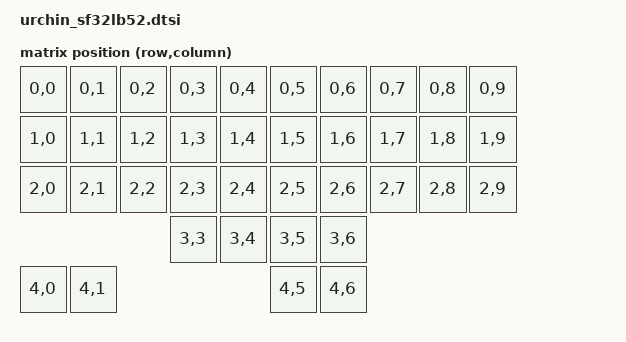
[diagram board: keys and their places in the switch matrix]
#include <zephyr/dt-bindings/gpio/gpio.h>
#include <dt-bindings/zmk/matrix_transform.h>

#include "urchin_sf32lb52-layouts.dtsi"

&default_layout {
    transform = <&default_transform>;
};

/ {
    chosen {
        zmk,kscan = &kscan_composite;
        zmk,physical-layout = &default_layout;
    };

    default_transform: keymap_transform_0 {
        compatible = "zmk,matrix-transform";
        columns = <10>;
        rows = <5>;

        map = <
            RC(0,0) RC(0,1) RC(0,2) RC(0,3) RC(0,4)     RC(0,5) RC(0,6) RC(0,7) RC(0,8) RC(0,9)
            RC(1,0) RC(1,1) RC(1,2) RC(1,3) RC(1,4)     RC(1,5) RC(1,6) RC(1,7) RC(1,8) RC(1,9)
            RC(2,0) RC(2,1) RC(2,2) RC(2,3) RC(2,4)     RC(2,5) RC(2,6) RC(2,7) RC(2,8) RC(2,9)
                                    RC(3,3) RC(3,4)     RC(3,5) RC(3,6)
            RC(4,0) RC(4,1)                               RC(4,5) RC(4,6)
        >;
    };

    kscan_composite: kscan_composite {
        compatible = "zmk,kscan-composite";
        rows = <5>;
        columns = <10>;

        matrix {
            kscan = <&kscan0>;
        };

        direct {
            kscan = <&kscan_direct>;
            row-offset = <4>;
        };
    };

    kscan0: kscan {
        compatible = "zmk,kscan-gpio-matrix";
        diode-direction = "col2row";
    };

    kscan_direct: kscan_direct {
        compatible = "zmk,kscan-gpio-direct";
    };
};
